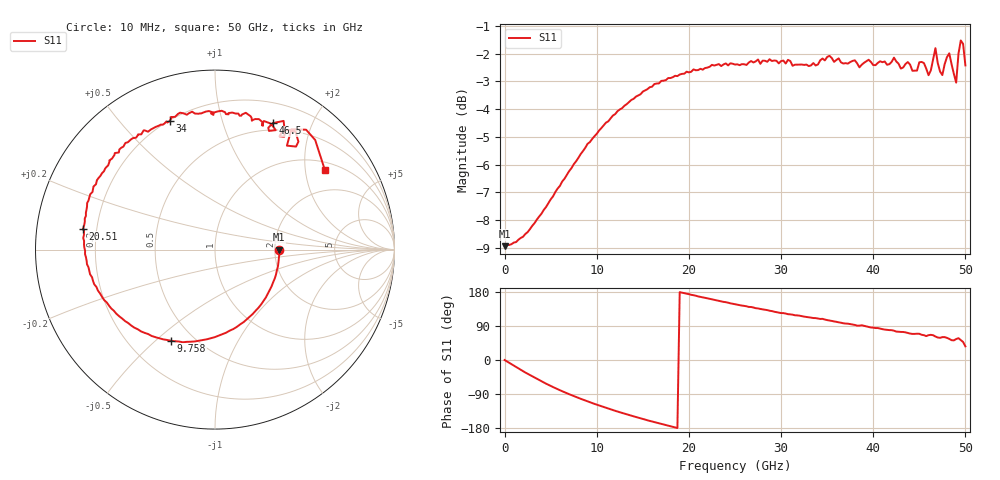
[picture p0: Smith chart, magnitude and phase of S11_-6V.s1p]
!Agilent Technologies,N5227A,US51270434,A.10.00.00
!Agilent N5227A: A.10.00.00
!Date: Thursday, February 26, 2026 12:47:15
!Correction: S11(Full 1 Port(1))
!S1P File: Measurement: S11:
# Hz S  dB  R 50
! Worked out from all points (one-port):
!   201 points, 10 MHz to 50 GHz, reference 50 ohm
!   lowest |S11| = -8.9 dB at 10 MHz (marker M1), VSWR 2.11, Z = 106 - j0.114 ohm
!   |S11| at or under -10 dB: nowhere
!   S11 on the Smith chart (normalised r, x): 10 MHz: 2.11, -0.00; 9.758 GHz: 0.38, -0.56; 20.51 GHz: 0.15, +0.08; 34 GHz: 0.20, +0.69; 46.5 GHz: 0.42, +1.48; 50 GHz: 1.23, +2.55
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1e7  -8.93 -0.1
3.0094e9  -8.20 -43.2
6.25875e9  -6.61 -82.5
9.75805e9  -4.98 -115.8
1.25075e10  -4.01 -137.9
1.625675e10  -3.10 -164.0
1.875625e10  -2.81 -179.5
2.05059e10  -2.57 171.0
2.5005e10  -2.39 147.2
2.875425e10  -2.20 130.0
3.125375e10  -2.44 119.6
3.40032e10  -2.39 109.4
3.75025e10  -2.30 94.7
4.375125e10  -2.30 71.4
4.5001e10  -2.31 69.2
4.575085e10  -2.54 63.0
4.60008e10  -2.78 65.5
4.65007e10  -2.21 65.4
4.675065e10  -1.80 61.9
4.725055e10  -2.64 58.5
4.75005e10  -2.77 60.3
4.825035e10  -1.99 55.7
4.875025e10  -2.73 51.8
4.90002e10  -3.05 55.3
4.925015e10  -2.00 57.6
4.95001e10  -1.53 52.8
4.975005e10  -1.65 47.6
5e10  -2.42 36.0
